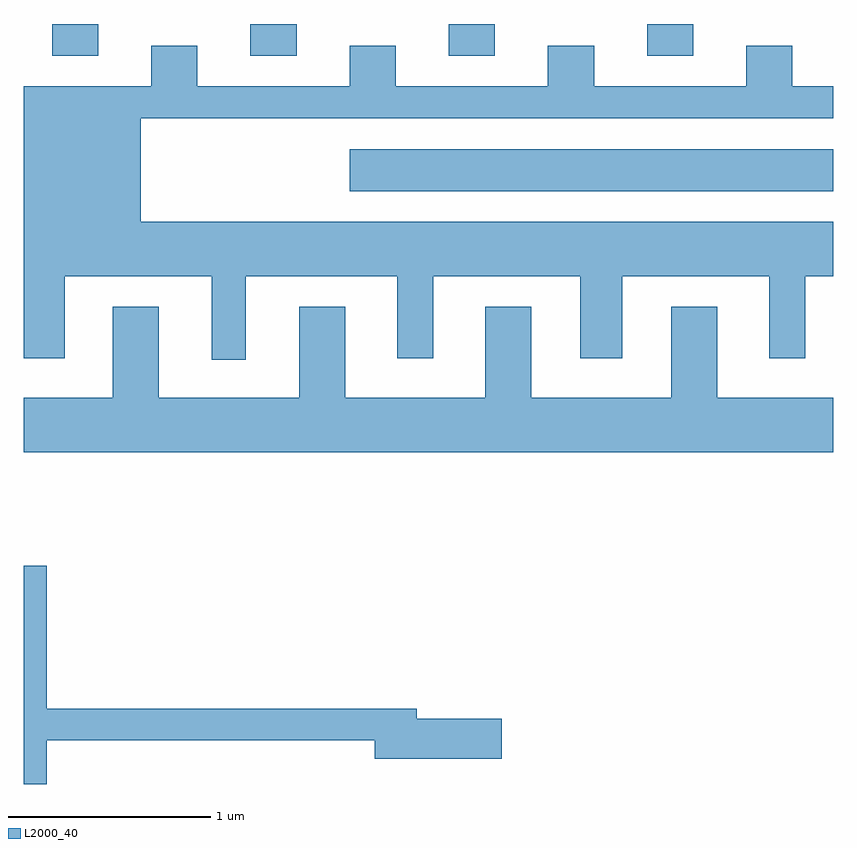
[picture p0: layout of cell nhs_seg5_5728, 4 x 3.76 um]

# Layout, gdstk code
import gdstk
lib = gdstk.Library(unit=1e-6, precision=1e-09)
def R(c, l, rs):  # rectangles x0, y0, x1, y1
    for r in rs: c.add(gdstk.rectangle(r[:2], r[2:], *l))
def A(c, l, x, y, w, h, nx, ny, dx, dy):  # array of equal rectangles
    R(c, l, [(x+i*dx, y+j*dy, x+i*dx+w, y+j*dy+h) for i in range(nx) for j in range(ny)])
def P(c, l, *ps):  # polygons
    for p in ps: c.add(gdstk.Polygon(p, *l))
L2000_40 = (2000, 40)

nhs_seg5_5728 = lib.new_cell('nhs_seg5_5728')
A(nhs_seg5_5728, L2000_40, 355.751, 1409.916, 0.228, 0.156, 4, 1, 0.98, 0)
R(nhs_seg5_5728, L2000_40, [(357.221,1409.246,359.611,1409.454)])
P(nhs_seg5_5728, L2000_40, [(356.709,1408.826),(357.456,1408.826),(357.456,1408.421),(357.634,1408.421),(357.634,1408.826),(358.361,1408.826),(358.361,1408.421),(358.569,1408.421),(358.569,1408.826),(359.296,1408.826),(359.296,1408.421),(359.474,1408.421),(359.474,1408.826),(359.611,1408.826),(359.611,1409.094),(356.189,1409.094),(356.189,1409.606),(359.611,1409.606),(359.611,1409.764),(359.409,1409.764),(359.409,1409.964),(359.181,1409.964),(359.181,1409.764),(358.429,1409.764),(358.429,1409.964),(358.201,1409.964),(358.201,1409.764),(357.449,1409.764),(357.449,1409.964),(357.221,1409.964),(357.221,1409.764),(356.469,1409.764),(356.469,1409.964),(356.241,1409.964),(356.241,1409.764),(355.611,1409.764),(355.611,1408.421),(355.814,1408.421),(355.814,1408.826),(356.541,1408.826),(356.541,1408.413),(356.709,1408.413)],
  [(359.611,1408.224),(359.039,1408.224),(359.039,1408.674),(358.811,1408.674),(358.811,1408.224),(358.119,1408.224),(358.119,1408.674),(357.891,1408.674),(357.891,1408.224),(357.199,1408.224),(357.199,1408.674),(356.971,1408.674),(356.971,1408.224),(356.279,1408.224),(356.279,1408.674),(356.051,1408.674),(356.051,1408.224),(355.611,1408.224),(355.611,1407.956),(359.611,1407.956)],
  [(355.724,1406.531),(357.346,1406.531),(357.346,1406.441),(357.974,1406.441),(357.974,1406.639),(357.554,1406.639),(357.554,1406.689),(355.724,1406.689),(355.724,1407.394),(355.611,1407.394),(355.611,1406.316),(355.724,1406.316)])

lib.write_gds('nhs_seg5_5728.gds')
